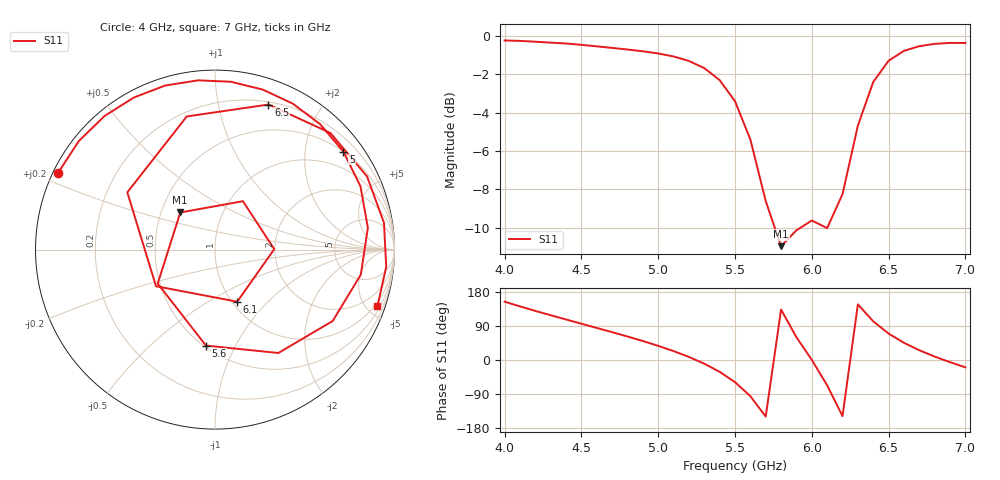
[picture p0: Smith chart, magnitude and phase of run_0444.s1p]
! Touchstone file exported from HFSS 2024.2.0
!  File:  C:/Users/wsak9/Desktop/Sim Fast/Widenad Patch/WP_AI_V1_sweep.aedt
!  Generated:  10:17:49 AM Oct 14, 2026
!  Design:  A1_model
!  Project:  WP_AI_V1_sweep
!  Setup:  Setup1
!  Solution:  Sweep
! Variables:
!  Air_gap = 4.85mm
!  Curve_Amp1 = 2.1
!  Curve_len1 = 1
!  Curve_pos = 10.29mm
!  Extra = 3.18mm
!  H_sub = 0.79mm
!  L_Patch = 16.58mm
!  L_Patch1 = 16.83mm
!  Sx = 1.78mm
!  Sy = 2.57mm
!  WS = 0.44mm
!  W_Patch = 22.1mm
!  W_Patch1 = 13.65mm
!Data is not renormalized
# GHz S MA
! Terminal data exported
! Port[1] = 1
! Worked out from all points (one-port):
!   31 points, 4 GHz to 7 GHz, reference per port
!   lowest |S11| = -11.0 dB at 5.8 GHz (marker M1), VSWR 1.79
!   |S11| at or under -10 dB: 5.759 GHz to 5.927 GHz (167.5 MHz wide, 2.87 % of centre); 6.094517 GHz to 6.101221 GHz (6.704 MHz wide, 0.11 % of centre)
!   S11 on the Smith chart (normalised r, x): 4 GHz: 0.01, +0.23; 5 GHz: 0.50, +2.88; 5.6 GHz: 0.51, -0.77; 6.1 GHz: 1.06, -0.68; 6.5 GHz: 0.23, +1.41; 7 GHz: 0.74, -5.79
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4  0.973 153.9
4.1  0.9704 141.4
4.2  0.9658 129.6
4.4  0.9554 106.9
4.6  0.9393 84.6
4.8  0.9214 62.0
4.9  0.9118 50.1
5  0.9 37.4
5.1  0.8839 23.5
5.2  0.8603 8.1
5.3  0.8241 -9.7
5.4  0.767 -31.2
5.5  0.6757 -58.5
5.6  0.5371 -95.4
5.7  0.371 -149.3
5.8  0.283 133.1
5.9  0.3113 60.0
6  0.3301 0.4
6.1  0.3154 -66.9
6.2  0.3869 -148.2
6.3  0.5834 146.9
6.4  0.7583 102.0
6.5  0.8614 69.8
6.6  0.9142 45.3
6.7  0.9402 25.7
6.8  0.9532 9.0
6.9  0.9588 -5.7
7  0.9586 -19.3
